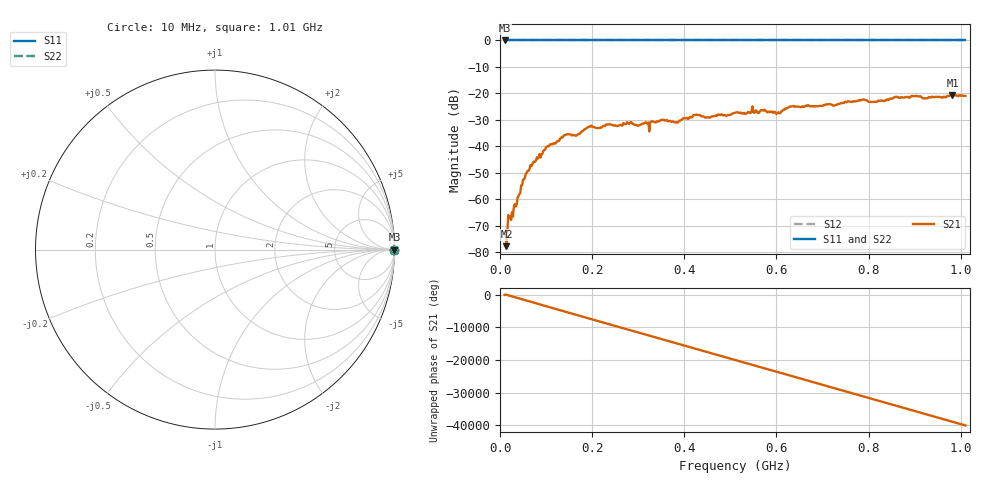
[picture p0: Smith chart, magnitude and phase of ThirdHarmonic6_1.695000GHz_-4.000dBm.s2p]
! 8/16/2025 8:21:37 PM
! C:\ANRITSUVNA\TEMP\TEMP.S2P
! CHANNEL.1
! TR.MEASUREMENT
! RAW.DATA
! RF.CORRECTION.OFF
! AVERAGING.OFF
! IF.BANDWIDTH: 5KHZ
! SWEEPTYPE:  FREQ.SWEEP(Linear)
! Reference Plane Port Info
! PORT:  PORT1  PORT2
! DISTANCE:  0  m  0  m
! TIME:  0  s  0  s
! PHASE.OFFSET:  0  deg.  0  deg.
! LOSS:  0  dB  0  dB
! REF.LOSS:  0  dB  0  dB
! REF.FREQ:  0  Hz  0  Hz
! Power Info
! POWER:  -20  dBm  -20  dBm
! EFF.POWER:  -20  dBm  -20  dBm
! SOURCE.ATTEN:  0  dB  0  dB
! TEST.ATTEN:  0  dB  0  dB
# GHZ S RI R 50.0
! FREQ.GHZ  S11RE  S11IM  S21RE  S21IM  S12RE  S12IM  S22RE  S22IM
!; PortSelection: Port_12
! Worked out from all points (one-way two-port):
!   501 points, 10 MHz to 1.01 GHz, reference 50 ohm
!   highest |S21| = -20.59 dB at 982 MHz (marker M1); lowest = -77.8 dB at 14 MHz (marker M2)
!   lowest |S11| = 0.0 dB at 10 MHz (marker M3)
!   |S11| at or under -10 dB: nowhere
!   |S22| runs from 0.0 to 0.0 dB; largest |S21 - S12| = 1.1
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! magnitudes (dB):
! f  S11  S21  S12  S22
! 10 MHz  0.0  -72.3  0.0  0.0
! 14 MHz  0.0  -77.8  0.0  0.0
! 22 MHz  0.0  -66.4  0.0  0.0
! 32 MHz  0.0  -61.9  0.0  0.0
! 50 MHz  0.0  -52.7  0.0  0.0
! 70 MHz  0.0  -46.9  0.0  0.0
! 104 MHz  0.0  -39.9  0.0  0.0
! 142 MHz  0.0  -35.8  0.0  0.0
! 178 MHz  0.0  -34.4  0.0  0.0
! 196 MHz  0.0  -32.6  0.0  0.0
! 344 MHz  0.0  -30.7  0.0  0.0
! 382 MHz  0.0  -30.9  0.0  0.0
! 424 MHz  0.0  -28.2  0.0  0.0
! 452 MHz  0.0  -29.0  0.0  0.0
! 510 MHz  0.0  -27.3  0.0  0.0
! 570 MHz  0.0  -26.4  0.0  0.0
! 604 MHz  0.0  -27.1  0.0  0.0
! 632 MHz  0.0  -24.9  0.0  0.0
! 678 MHz  0.0  -24.9  0.0  0.0
! 844 MHz  0.0  -22.4  0.0  0.0
! 982 MHz  0.0  -20.6  0.0  0.0
! 1.01 GHz  0.0  -21.0  0.0  0.0
